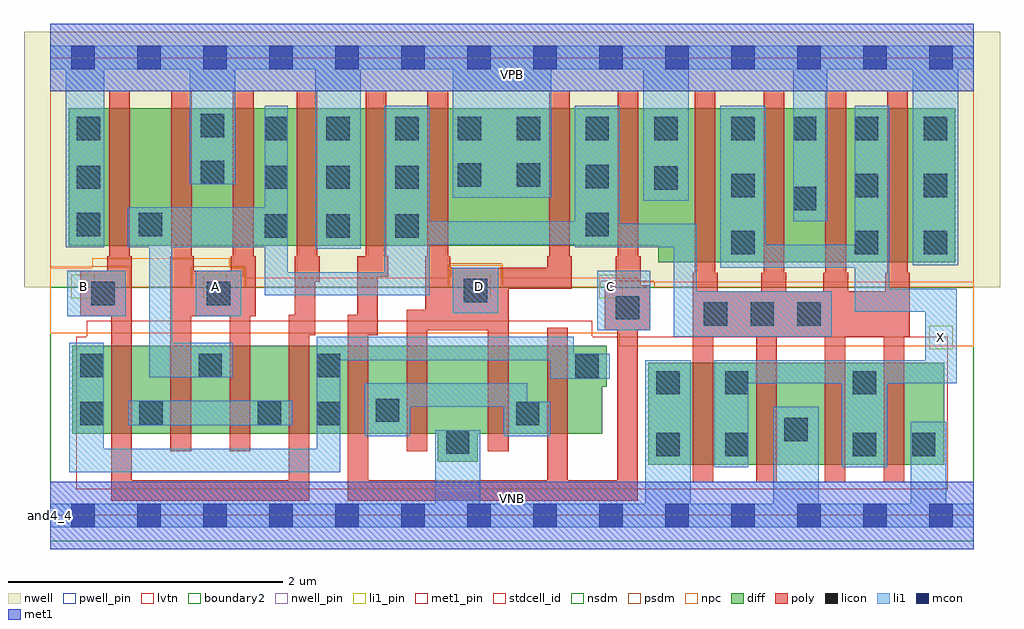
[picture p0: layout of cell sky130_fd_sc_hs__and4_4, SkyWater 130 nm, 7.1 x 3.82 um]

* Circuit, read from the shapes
.subckt sky130_fd_sc_hs__and4_4 A B C D VGND VNB VPB VPWR X
XM1 n1 B n2 VNB sky130_fd_pr__nfet_01v8_lvt w=0.64 l=0.15 m=2
XM2 n3 A n1 VNB sky130_fd_pr__nfet_01v8_lvt w=0.64 l=0.15 m=2
XM3 n4 C n2 VNB sky130_fd_pr__nfet_01v8_lvt w=0.64 l=0.15 m=2
XM4 VGND D n4 VNB sky130_fd_pr__nfet_01v8_lvt w=0.64 l=0.15 m=2
XM5 X n3 VGND VNB sky130_fd_pr__nfet_01v8_lvt w=0.74 l=0.15 m=4
XM6 n3 B VPWR VPB sky130_fd_pr__pfet_01v8 w=1 l=0.15 m=2
XM7 VPWR A n3 VPB sky130_fd_pr__pfet_01v8 w=1 l=0.15 m=2
XM8 n3 C VPWR VPB sky130_fd_pr__pfet_01v8 w=1 l=0.15 m=2
XM9 VPWR D n3 VPB sky130_fd_pr__pfet_01v8 w=1 l=0.15 m=2
XM10 X n3 VPWR VPB sky130_fd_pr__pfet_01v8 w=1.12 l=0.15 m=4
.ends

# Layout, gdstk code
import gdstk
lib = gdstk.Library(unit=1e-6, precision=1e-09)
def R(c, l, rs):  # rectangles x0, y0, x1, y1
    for r in rs: c.add(gdstk.rectangle(r[:2], r[2:], *l))
def A(c, l, x, y, w, h, nx, ny, dx, dy):  # array of equal rectangles
    R(c, l, [(x+i*dx, y+j*dy, x+i*dx+w, y+j*dy+h) for i in range(nx) for j in range(ny)])
def P(c, l, *ps):  # polygons
    for p in ps: c.add(gdstk.Polygon(p, *l))
nwell_pin = (64, 16)
nwell = (64, 20)
diff = (65, 20)
poly = (66, 20)
licon = (66, 44)
li1_pin = (67, 16)
li1 = (67, 20)
mcon = (67, 44)
met1_pin = (68, 16)
met1 = (68, 20)
stdcell_id = (81, 4)
nsdm = (93, 44)
psdm = (94, 20)
npc = (95, 20)
pwell_pin = (122, 16)
lvtn = (125, 44)
boundary2 = (236, 0)

sky130_fd_sc_hs__and4_4 = lib.new_cell('sky130_fd_sc_hs__and4_4')
R(sky130_fd_sc_hs__and4_4, nwell_pin, [(0,3.085,6.72,3.33)])
R(sky130_fd_sc_hs__and4_4, nwell, [(-0.19,1.66,6.91,3.52)])
R(sky130_fd_sc_hs__and4_4, diff, [(4.35,0.37,6.505,1.11)])
P(sky130_fd_sc_hs__and4_4, diff, [(4.05,1.235),(0.16,1.235),(0.16,0.595),(2.82,0.595),(2.82,0.39),(3.11,0.39),(3.11,0.595),(4.015,0.595),(4.015,0.935),(4.05,0.935)],
  [(6.585,2.96),(0.135,2.96),(0.135,1.96),(4.425,1.96),(4.425,1.84),(6.585,1.84)])
P(sky130_fd_sc_hs__and4_4, poly, [(1.495,1.885),(1.48,1.885),(1.48,3.09),(1.33,3.09),(1.33,1.885),(1.315,1.885),(1.315,1.78),(1.045,1.78),(1.045,1.885),(1.03,1.885),(1.03,3.09),(0.88,3.09),(0.88,1.885),(0.875,1.885),(0.875,0.465),(1.025,0.465),(1.025,1.45),(1.305,1.45),(1.305,0.465),(1.455,0.465),(1.455,1.45),(1.495,1.45)],
  [(1.96,1.885),(1.945,1.885),(1.945,3.09),(1.795,3.09),(1.795,1.885),(1.78,1.885),(1.78,1.46),(1.735,1.46),(1.735,0.255),(0.595,0.255),(0.595,1.885),(0.58,1.885),(0.58,3.09),(0.43,3.09),(0.43,1.885),(0.415,1.885),(0.415,1.78),(0.22,1.78),(0.22,1.45),(0.445,1.45),(0.445,0.105),(1.885,0.105),(1.885,1.31),(1.93,1.31),(1.93,1.7),(1.96,1.7)],
  [(3.795,1.885),(3.78,1.885),(3.78,3.09),(3.63,3.09),(3.63,1.885),(3.615,1.885),(3.615,1.8),(2.91,1.8),(2.91,1.885),(2.895,1.885),(2.895,3.09),(2.745,3.09),(2.745,1.885),(2.73,1.885),(2.73,1.495),(2.595,1.495),(2.595,0.465),(2.745,0.465),(2.745,1.345),(3.185,1.345),(3.185,0.465),(3.335,0.465),(3.335,1.65),(3.795,1.65)],
  [(4.365,1.675),(4.295,1.675),(4.295,1.885),(4.28,1.885),(4.28,3.09),(4.13,3.09),(4.13,1.885),(4.115,1.885),(4.115,1.675),(4.035,1.675),(4.035,1.345),(4.125,1.345),(4.125,0.255),(3.765,0.255),(3.765,1.365),(3.615,1.365),(3.615,0.255),(2.315,0.255),(2.315,1.31),(2.385,1.31),(2.385,1.735),(2.46,1.735),(2.46,1.885),(2.445,1.885),(2.445,3.09),(2.295,3.09),(2.295,1.885),(2.235,1.885),(2.235,1.46),(2.165,1.46),(2.165,0.105),(4.275,0.105),(4.275,1.345),(4.365,1.345)],
  [(6.255,1.765),(6.24,1.765),(6.24,3.09),(6.09,3.09),(6.09,1.765),(6.075,1.765),(6.075,1.63),(5.805,1.63),(5.805,1.765),(5.79,1.765),(5.79,3.09),(5.64,3.09),(5.64,1.765),(5.625,1.765),(5.625,1.63),(5.355,1.63),(5.355,1.765),(5.34,1.765),(5.34,3.09),(5.19,3.09),(5.19,1.765),(5.175,1.765),(5.175,1.63),(4.855,1.63),(4.855,1.765),(4.84,1.765),(4.84,3.09),(4.69,3.09),(4.69,1.765),(4.675,1.765),(4.675,0.24),(4.825,0.24),(4.825,1.3),(5.135,1.3),(5.135,0.24),(5.285,0.24),(5.285,1.3),(5.635,1.3),(5.635,0.24),(5.785,0.24),(5.785,1.3),(6.065,1.3),(6.065,0.24),(6.215,0.24),(6.215,1.3),(6.255,1.3)])
A(sky130_fd_sc_hs__and4_4, licon, 0.22, 1.005, 0.17, 0.17, 3, 1, 0.86, 0)
A(sky130_fd_sc_hs__and4_4, licon, 4.755, 1.38, 0.17, 0.17, 3, 1, 0.34, 0)
A(sky130_fd_sc_hs__and4_4, licon, 6.355, 1.9, 0.17, 0.17, 1, 3, 0, 0.415)
A(sky130_fd_sc_hs__and4_4, licon, 1.56, 2.02, 0.17, 0.17, 1, 3, 0, 0.355)
A(sky130_fd_sc_hs__and4_4, licon, 2.01, 2.02, 0.17, 0.17, 1, 3, 0, 0.355)
A(sky130_fd_sc_hs__and4_4, licon, 2.51, 2.02, 0.17, 0.17, 1, 3, 0, 0.355)
A(sky130_fd_sc_hs__and4_4, licon, 3.395, 2.73, 0.17, 0.17, 3, 1, 0.5, 0)
A(sky130_fd_sc_hs__and4_4, licon, 4.955, 2.73, 0.17, 0.17, 3, 1, 0.45, 0)
R(sky130_fd_sc_hs__and4_4, licon, [(4.41,0.43,4.58,0.6), (4.91,0.43,5.08,0.6), (5.84,0.43,6.01,0.6), (6.27,0.43,6.44,0.6), (2.88,0.45,3.05,0.62), (5.34,0.54,5.51,0.71), (0.22,0.655,0.39,0.825), (1.94,0.655,2.11,0.825), (3.39,0.655,3.56,0.825), (0.65,0.66,0.82,0.83), (1.51,0.66,1.68,0.83), (2.37,0.68,2.54,0.85), (4.41,0.88,4.58,1.05), (4.91,0.88,5.08,1.05), (5.84,0.88,6.01,1.05), (3.82,1,3.99,1.17), (4.115,1.425,4.285,1.595), (0.3,1.53,0.47,1.7), (1.14,1.53,1.31,1.7), (3.01,1.55,3.18,1.72), (4.955,1.9,5.125,2.07), (5.855,1.9,6.025,2.07), (0.195,2.03,0.365,2.2), (0.645,2.03,0.815,2.2), (3.895,2.03,4.065,2.2), (5.405,2.22,5.575,2.39), (4.955,2.315,5.125,2.485), (5.855,2.315,6.025,2.485), (4.395,2.37,4.565,2.54), (0.195,2.375,0.365,2.545), (3.895,2.38,4.065,2.55), (2.965,2.39,3.135,2.56), (3.395,2.39,3.565,2.56), (1.095,2.41,1.265,2.58), (0.195,2.73,0.365,2.9), (2.965,2.73,3.135,2.9), (1.095,2.75,1.265,2.92)])
R(sky130_fd_sc_hs__and4_4, li1_pin, [(6.395,1.21,6.565,1.38), (0.155,1.58,0.325,1.75), (1.115,1.58,1.285,1.75), (3.035,1.58,3.205,1.75), (3.995,1.58,4.165,1.75)])
R(sky130_fd_sc_hs__and4_4, li1, [(0.57,0.655,1.76,0.835), (3.98,1.345,4.365,1.78), (0.125,1.45,0.55,1.78), (1.06,1.45,1.39,1.78), (2.93,1.47,3.26,1.8)])
P(sky130_fd_sc_hs__and4_4, li1, [(0.115,1.95),(0.115,3.245),(0,3.245),(0,3.415),(6.72,3.415),(6.72,3.245),(6.605,3.245),(6.605,1.82),(6.275,1.82),(6.275,3.245),(5.655,3.245),(5.655,2.14),(5.405,2.14),(5.405,3.245),(4.645,3.245),(4.645,2.29),(4.315,2.29),(4.315,3.245),(3.645,3.245),(3.645,2.31),(2.93,2.31),(2.93,3.245),(2.26,3.245),(2.26,1.94),(1.93,1.94),(1.93,3.245),(1.345,3.245),(1.345,2.41),(1.015,2.41),(1.015,3.245),(0.395,3.245),(0.395,1.95)],
  [(2.8,0.085),(2.8,0.62),(3.13,0.62),(3.13,0.085),(4.33,0.085),(4.33,1.13),(4.66,1.13),(4.66,0.085),(5.26,0.085),(5.26,0.79),(5.59,0.79),(5.59,0.085),(6.26,0.085),(6.26,0.68),(6.52,0.68),(6.52,0.085),(6.72,0.085),(6.72,-0.085),(0,-0.085),(0,0.085)],
  [(0.72,1.005),(0.72,1.95),(0.565,1.95),(0.565,2.24),(1.56,2.24),(1.56,2.98),(1.73,2.98),(1.73,1.77),(2.43,1.77),(2.43,2.98),(2.76,2.98),(2.76,2.14),(3.815,2.14),(3.815,2.98),(4.145,2.98),(4.145,2.12),(4.705,2.12),(4.705,1.63),(5.685,1.63),(5.685,1.3),(4.535,1.3),(4.535,1.95),(3.815,1.95),(3.815,1.97),(2.76,1.97),(2.76,1.6),(1.56,1.6),(1.56,1.95),(0.89,1.95),(0.89,1.255),(1.33,1.255),(1.33,1.005)],
  [(5.76,0.35),(5.76,0.96),(5.08,0.96),(5.08,0.35),(4.83,0.35),(4.83,1.13),(6.365,1.13),(6.365,1.48),(5.855,1.48),(5.855,1.8),(4.875,1.8),(4.875,2.98),(5.205,2.98),(5.205,1.97),(5.855,1.97),(5.855,2.98),(6.105,2.98),(6.105,1.65),(6.595,1.65),(6.595,0.96),(6.09,0.96),(6.09,0.35)],
  [(3.3,0.575),(3.3,0.79),(2.62,0.79),(2.62,0.575),(2.29,0.575),(2.29,0.96),(3.47,0.96),(3.47,0.825),(3.64,0.825),(3.64,0.575)],
  [(3.64,0.995),(3.64,1.13),(2.11,1.13),(2.11,0.315),(0.14,0.315),(0.14,1.255),(0.39,1.255),(0.39,0.485),(1.94,0.485),(1.94,1.3),(3.81,1.3),(3.81,1.175),(4.07,1.175),(4.07,0.995)])
A(sky130_fd_sc_hs__and4_4, mcon, 0.155, -0.085, 0.17, 0.17, 14, 2, 0.48, 3.33)
R(sky130_fd_sc_hs__and4_4, met1_pin, [(0,0,6.72,0.245), (0,3.085,6.72,3.33)])
R(sky130_fd_sc_hs__and4_4, met1, [(0,-0.245,6.72,0.245), (0,3.085,6.72,3.575)])
R(sky130_fd_sc_hs__and4_4, stdcell_id, [(0,0,6.72,3.33)])
R(sky130_fd_sc_hs__and4_4, nsdm, [(0,-0.19,6.72,1.66)])
P(sky130_fd_sc_hs__and4_4, psdm, [(6.72,3.52),(0,3.52),(0,1.81),(0.58,1.81),(0.58,1.66),(1.03,1.66),(1.03,1.81),(1.42,1.81),(1.42,1.66),(2.9,1.66),(2.9,1.83),(3.29,1.83),(3.29,1.66),(4.005,1.66),(4.005,1.705),(4.395,1.705),(4.395,1.66),(6.72,1.66)])
P(sky130_fd_sc_hs__and4_4, npc, [(6.72,1.7),(4.285,1.7),(4.285,1.73),(3.28,1.73),(3.28,1.82),(2.91,1.82),(2.91,1.73),(1.41,1.73),(1.41,1.8),(1.305,1.8),(1.305,1.87),(0.305,1.87),(0.305,1.8),(0,1.8),(0,1.325),(4.14,1.325),(4.14,1.23),(6.72,1.23)])
R(sky130_fd_sc_hs__and4_4, pwell_pin, [(0,0,6.72,0.245)])
P(sky130_fd_sc_hs__and4_4, lvtn, [(6.53,1.3),(3.945,1.3),(3.945,1.415),(0.265,1.415),(0.265,1.3),(0.19,1.3),(0.19,0.19),(6.53,0.19)])
R(sky130_fd_sc_hs__and4_4, boundary2, [(0,0,6.72,3.33)])
sky130_fd_sc_hs__and4_4.add(gdstk.Label('and4_4', (0,0), layer=83, texttype=44))
sky130_fd_sc_hs__and4_4.add(gdstk.Label('VNB', (3.36,0.123), layer=64, texttype=59))
sky130_fd_sc_hs__and4_4.add(gdstk.Label('VPB', (3.36,3.208), layer=64, texttype=5))
sky130_fd_sc_hs__and4_4.add(gdstk.Label('VPWR', (3.36,3.208), layer=68, texttype=5))
sky130_fd_sc_hs__and4_4.add(gdstk.Label('VGND', (3.36,0.123), layer=68, texttype=5))
sky130_fd_sc_hs__and4_4.add(gdstk.Label('D', (3.12,1.665), layer=67, texttype=5))
sky130_fd_sc_hs__and4_4.add(gdstk.Label('C', (4.08,1.665), layer=67, texttype=5))
sky130_fd_sc_hs__and4_4.add(gdstk.Label('B', (0.24,1.665), layer=67, texttype=5))
sky130_fd_sc_hs__and4_4.add(gdstk.Label('A', (1.2,1.665), layer=67, texttype=5))
sky130_fd_sc_hs__and4_4.add(gdstk.Label('X', (6.48,1.295), layer=67, texttype=5))

lib.write_gds('sky130_fd_sc_hs__and4_4.gds')
